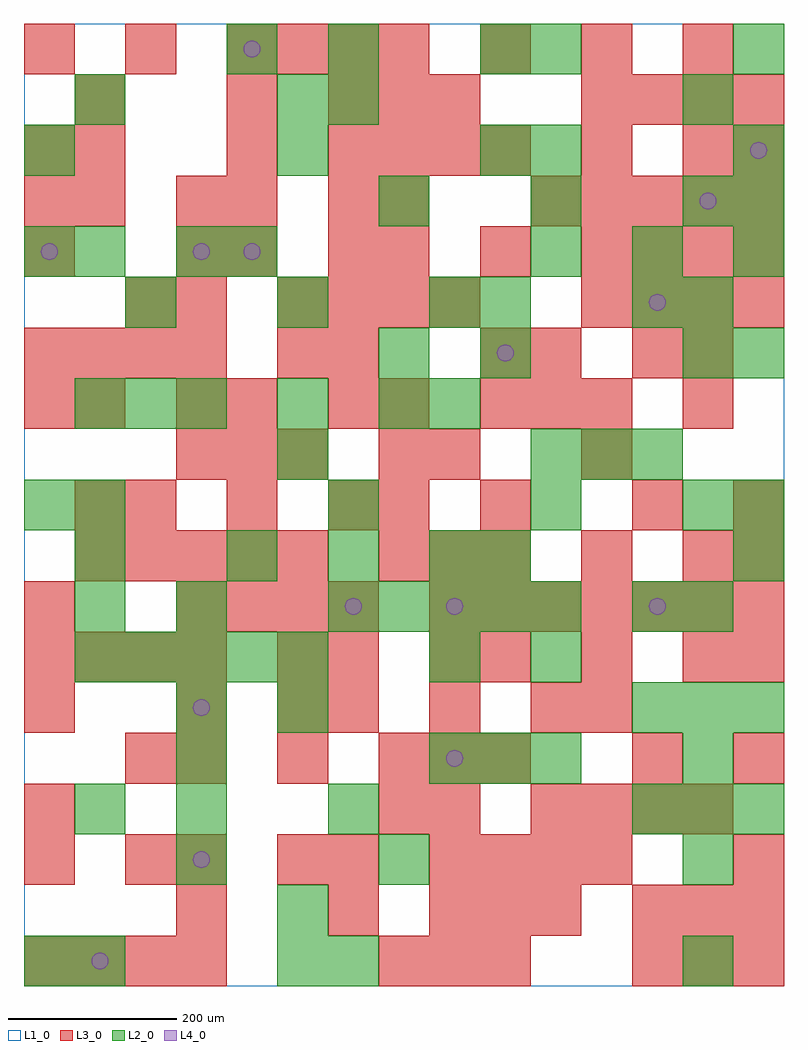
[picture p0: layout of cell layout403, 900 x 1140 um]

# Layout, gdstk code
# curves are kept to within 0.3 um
import gdstk
lib = gdstk.Library(unit=1e-6, precision=1e-09)
def R(c, l, rs):  # rectangles x0, y0, x1, y1
    for r in rs: c.add(gdstk.rectangle(r[:2], r[2:], *l))
def A(c, l, x, y, w, h, nx, ny, dx, dy):  # array of equal rectangles
    R(c, l, [(x+i*dx, y+j*dy, x+i*dx+w, y+j*dy+h) for i in range(nx) for j in range(ny)])
def P(c, l, *ps):  # polygons
    for p in ps: c.add(gdstk.Polygon(p, *l))
L1_0 = (1, 0)
L2_0 = (2, 0)
L3_0 = (3, 0)
L4_0 = (4, 0)

layout403 = lib.new_cell('layout403')
R(layout403, L1_0, [(0,0,900,1140)])
A(layout403, L2_0, 780, 0, 60, 60, 1, 3, 0, 120)
A(layout403, L2_0, 180, 120, 60, 60, 1, 4, 0, 60)
A(layout403, L2_0, 720, 180, 60, 60, 3, 2, 60, 120)
A(layout403, L2_0, 480, 240, 60, 60, 3, 1, 60, 0)
A(layout403, L2_0, 60, 360, 60, 60, 5, 1, 60, 0)
A(layout403, L2_0, 60, 420, 60, 60, 1, 3, 0, 60)
A(layout403, L2_0, 360, 420, 60, 60, 5, 1, 60, 0)
A(layout403, L2_0, 240, 480, 60, 60, 3, 1, 120, 0)
A(layout403, L2_0, 840, 540, 60, 60, 1, 3, 0, 180)
A(layout403, L2_0, 600, 600, 60, 60, 3, 1, 60, 0)
A(layout403, L2_0, 60, 660, 60, 60, 3, 1, 60, 0)
A(layout403, L2_0, 120, 780, 60, 60, 3, 1, 180, 0)
A(layout403, L2_0, 600, 840, 60, 60, 3, 1, 120, 0)
A(layout403, L2_0, 420, 900, 60, 60, 3, 1, 180, 0)
R(layout403, L2_0, [(0,0,60,60), (60,0,120,60), (300,0,360,60), (360,0,420,60), (300,60,360,120), (420,120,480,180), (60,180,120,240), (360,180,420,240), (300,300,360,360), (480,360,540,420), (600,360,660,420), (180,420,240,480), (720,420,780,480), (780,420,840,480), (540,480,600,540), (840,480,900,540), (0,540,60,600), (360,540,420,600), (600,540,660,600), (780,540,840,600), (300,600,360,660), (300,660,360,720), (420,660,480,720), (480,660,540,720), (420,720,480,780), (540,720,600,780), (780,720,840,780), (540,780,600,840), (720,780,780,840), (780,780,840,840), (0,840,60,900), (60,840,120,900), (180,840,240,900), (240,840,300,900), (0,960,60,1020), (300,960,360,1020), (540,960,600,1020), (600,960,660,1020), (840,960,900,1020), (60,1020,120,1080), (300,1020,360,1080), (360,1020,420,1080), (780,1020,840,1080), (240,1080,300,1140), (360,1080,420,1140), (540,1080,600,1140), (600,1080,660,1140), (840,1080,900,1140)])
A(layout403, L3_0, 0, 0, 60, 60, 4, 3, 60, 360)
A(layout403, L3_0, 420, 0, 60, 60, 3, 2, 60, 480)
A(layout403, L3_0, 720, 0, 60, 60, 3, 2, 60, 60)
A(layout403, L3_0, 480, 60, 60, 60, 3, 1, 60, 0)
A(layout403, L3_0, 480, 120, 60, 60, 4, 1, 60, 0)
A(layout403, L3_0, 840, 120, 60, 60, 1, 4, 0, 120)
A(layout403, L3_0, 0, 180, 60, 60, 1, 3, 0, 120)
A(layout403, L3_0, 600, 180, 60, 60, 4, 1, 60, 0)
A(layout403, L3_0, 180, 240, 60, 60, 3, 1, 120, 0)
A(layout403, L3_0, 360, 300, 60, 60, 3, 1, 120, 0)
A(layout403, L3_0, 540, 360, 60, 60, 3, 2, 120, 720)
A(layout403, L3_0, 180, 420, 60, 60, 4, 1, 60, 0)
A(layout403, L3_0, 480, 420, 60, 60, 7, 1, 60, 0)
A(layout403, L3_0, 60, 480, 60, 60, 5, 1, 60, 0)
A(layout403, L3_0, 120, 540, 60, 60, 3, 1, 120, 0)
A(layout403, L3_0, 420, 540, 60, 60, 1, 3, 0, 60)
A(layout403, L3_0, 180, 600, 60, 60, 3, 1, 60, 0)
A(layout403, L3_0, 540, 660, 60, 60, 3, 1, 60, 0)
A(layout403, L3_0, 180, 780, 60, 60, 1, 3, 0, 60)
A(layout403, L3_0, 300, 780, 60, 60, 4, 1, 60, 0)
A(layout403, L3_0, 660, 780, 60, 60, 4, 2, 60, 240)
A(layout403, L3_0, 0, 840, 60, 60, 1, 3, 0, 60)
A(layout403, L3_0, 240, 840, 60, 60, 1, 4, 0, 60)
A(layout403, L3_0, 420, 840, 60, 60, 3, 1, 120, 0)
A(layout403, L3_0, 720, 840, 60, 60, 3, 1, 60, 0)
A(layout403, L3_0, 60, 900, 60, 60, 1, 3, 0, 60)
A(layout403, L3_0, 600, 900, 60, 60, 5, 1, 60, 0)
A(layout403, L3_0, 360, 960, 60, 60, 4, 1, 60, 0)
A(layout403, L3_0, 360, 1020, 60, 60, 3, 1, 60, 0)
A(layout403, L3_0, 0, 1080, 60, 60, 3, 1, 120, 0)
A(layout403, L3_0, 300, 1080, 60, 60, 3, 1, 60, 0)
R(layout403, L3_0, [(180,60,240,120), (360,60,420,120), (0,120,60,180), (120,120,180,180), (180,120,240,180), (300,120,360,180), (360,120,420,180), (420,180,480,240), (480,180,540,240), (120,240,180,300), (480,240,540,300), (540,240,600,300), (720,240,780,300), (180,300,240,360), (300,300,360,360), (660,300,720,360), (300,360,360,420), (360,360,420,420), (480,360,540,420), (660,480,720,540), (780,480,840,540), (60,540,120,600), (540,540,600,600), (720,540,780,600), (840,540,900,600), (480,600,540,660), (660,600,720,660), (0,660,60,720), (60,660,120,720), (180,660,240,720), (240,660,300,720), (360,660,420,720), (780,660,840,720), (300,720,360,780), (360,720,420,780), (540,720,600,780), (600,720,660,780), (720,720,780,780), (780,720,840,780), (120,780,180,840), (360,840,420,900), (360,900,420,960), (420,900,480,960), (660,960,720,1020), (780,960,840,1020), (840,960,900,1020)])
P(layout403, L4_0, [(40,870),(39.239,873.827),(37.071,877.071),(33.827,879.239),(30,880),(26.173,879.239),(22.929,877.071),(20.761,873.827),(20,870),(20.761,866.173),(22.929,862.929),(26.173,860.761),(30,860),(33.827,860.761),(37.071,862.929),(39.239,866.173)],
  [(100,30),(99.239,33.827),(97.071,37.071),(93.827,39.239),(90,40),(86.173,39.239),(82.929,37.071),(80.761,33.827),(80,30),(80.761,26.173),(82.929,22.929),(86.173,20.761),(90,20),(93.827,20.761),(97.071,22.929),(99.239,26.173)],
  [(220,150),(219.239,153.827),(217.071,157.071),(213.827,159.239),(210,160),(206.173,159.239),(202.929,157.071),(200.761,153.827),(200,150),(200.761,146.173),(202.929,142.929),(206.173,140.761),(210,140),(213.827,140.761),(217.071,142.929),(219.239,146.173)],
  [(220,330),(219.239,333.827),(217.071,337.071),(213.827,339.239),(210,340),(206.173,339.239),(202.929,337.071),(200.761,333.827),(200,330),(200.761,326.173),(202.929,322.929),(206.173,320.761),(210,320),(213.827,320.761),(217.071,322.929),(219.239,326.173)],
  [(220,870),(219.239,873.827),(217.071,877.071),(213.827,879.239),(210,880),(206.173,879.239),(202.929,877.071),(200.761,873.827),(200,870),(200.761,866.173),(202.929,862.929),(206.173,860.761),(210,860),(213.827,860.761),(217.071,862.929),(219.239,866.173)],
  [(280,870),(279.239,873.827),(277.071,877.071),(273.827,879.239),(270,880),(266.173,879.239),(262.929,877.071),(260.761,873.827),(260,870),(260.761,866.173),(262.929,862.929),(266.173,860.761),(270,860),(273.827,860.761),(277.071,862.929),(279.239,866.173)],
  [(280,1110),(279.239,1113.827),(277.071,1117.071),(273.827,1119.239),(270,1120),(266.173,1119.239),(262.929,1117.071),(260.761,1113.827),(260,1110),(260.761,1106.173),(262.929,1102.929),(266.173,1100.761),(270,1100),(273.827,1100.761),(277.071,1102.929),(279.239,1106.173)],
  [(400,450),(399.239,453.827),(397.071,457.071),(393.827,459.239),(390,460),(386.173,459.239),(382.929,457.071),(380.761,453.827),(380,450),(380.761,446.173),(382.929,442.929),(386.173,440.761),(390,440),(393.827,440.761),(397.071,442.929),(399.239,446.173)],
  [(520,270),(519.239,273.827),(517.071,277.071),(513.827,279.239),(510,280),(506.173,279.239),(502.929,277.071),(500.761,273.827),(500,270),(500.761,266.173),(502.929,262.929),(506.173,260.761),(510,260),(513.827,260.761),(517.071,262.929),(519.239,266.173)],
  [(520,450),(519.239,453.827),(517.071,457.071),(513.827,459.239),(510,460),(506.173,459.239),(502.929,457.071),(500.761,453.827),(500,450),(500.761,446.173),(502.929,442.929),(506.173,440.761),(510,440),(513.827,440.761),(517.071,442.929),(519.239,446.173)],
  [(580,750),(579.239,753.827),(577.071,757.071),(573.827,759.239),(570,760),(566.173,759.239),(562.929,757.071),(560.761,753.827),(560,750),(560.761,746.173),(562.929,742.929),(566.173,740.761),(570,740),(573.827,740.761),(577.071,742.929),(579.239,746.173)],
  [(760,450),(759.239,453.827),(757.071,457.071),(753.827,459.239),(750,460),(746.173,459.239),(742.929,457.071),(740.761,453.827),(740,450),(740.761,446.173),(742.929,442.929),(746.173,440.761),(750,440),(753.827,440.761),(757.071,442.929),(759.239,446.173)],
  [(760,810),(759.239,813.827),(757.071,817.071),(753.827,819.239),(750,820),(746.173,819.239),(742.929,817.071),(740.761,813.827),(740,810),(740.761,806.173),(742.929,802.929),(746.173,800.761),(750,800),(753.827,800.761),(757.071,802.929),(759.239,806.173)],
  [(820,930),(819.239,933.827),(817.071,937.071),(813.827,939.239),(810,940),(806.173,939.239),(802.929,937.071),(800.761,933.827),(800,930),(800.761,926.173),(802.929,922.929),(806.173,920.761),(810,920),(813.827,920.761),(817.071,922.929),(819.239,926.173)],
  [(880,990),(879.239,993.827),(877.071,997.071),(873.827,999.239),(870,1000),(866.173,999.239),(862.929,997.071),(860.761,993.827),(860,990),(860.761,986.173),(862.929,982.929),(866.173,980.761),(870,980),(873.827,980.761),(877.071,982.929),(879.239,986.173)])

lib.write_gds('layout403.gds')
